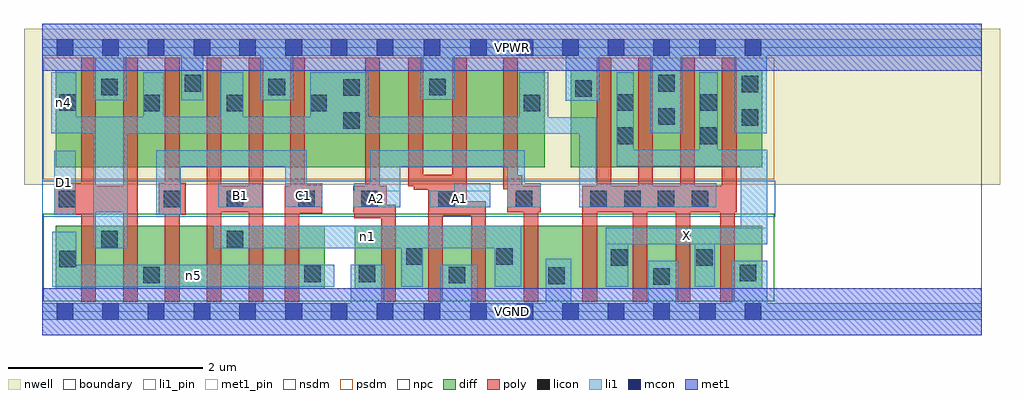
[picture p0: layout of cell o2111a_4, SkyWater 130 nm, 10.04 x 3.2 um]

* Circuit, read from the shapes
.subckt o2111a_4 A1 A2 B1 C1 D1 VGND VPWR X n1 n4 n5
XM1 n4 D1 n5 VSUBS sky130_fd_pr__nfet_01v8 w=0.65 l=0.15 m=2
XM2 n2 C1 n5 VSUBS sky130_fd_pr__nfet_01v8 w=0.65 l=0.15
XM3 n1 B1 n2 VSUBS sky130_fd_pr__nfet_01v8 w=0.65 l=0.15
XM4 n3 B1 n1 VSUBS sky130_fd_pr__nfet_01v8 w=0.65 l=0.15
XM5 n5 C1 n3 VSUBS sky130_fd_pr__nfet_01v8 w=0.65 l=0.15
XM6 n1 A2 VGND VSUBS sky130_fd_pr__nfet_01v8 w=0.65 l=0.15 m=2
XM7 VGND A1 n1 VSUBS sky130_fd_pr__nfet_01v8 w=0.65 l=0.15 m=2
XM8 X n4 VGND VSUBS sky130_fd_pr__nfet_01v8 w=0.65 l=0.15 m=4
XM9 VPWR D1 n4 n6 sky130_fd_pr__pfet_01v8 w=1 l=0.15 m=2
XM10 VPWR C1 n4 n6 sky130_fd_pr__pfet_01v8 w=1 l=0.15 m=2
XM11 n4 B1 VPWR n6 sky130_fd_pr__pfet_01v8 w=1 l=0.15 m=2
XM12 n7 A2 n4 n6 sky130_fd_pr__pfet_01v8 w=1 l=0.15
XM13 VPWR A1 n7 n6 sky130_fd_pr__pfet_01v8 w=1 l=0.15
XM14 n8 A1 VPWR n6 sky130_fd_pr__pfet_01v8 w=1 l=0.15
XM15 n4 A2 n8 n6 sky130_fd_pr__pfet_01v8 w=1 l=0.15
XM16 X n4 VPWR n6 sky130_fd_pr__pfet_01v8 w=1 l=0.15 m=4
.ends

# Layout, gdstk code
import gdstk
lib = gdstk.Library(unit=1e-6, precision=1e-09)
def R(c, l, rs):  # rectangles x0, y0, x1, y1
    for r in rs: c.add(gdstk.rectangle(r[:2], r[2:], *l))
def A(c, l, x, y, w, h, nx, ny, dx, dy):  # array of equal rectangles
    R(c, l, [(x+i*dx, y+j*dy, x+i*dx+w, y+j*dy+h) for i in range(nx) for j in range(ny)])
nwell = (64, 20)
diff = (65, 20)
poly = (66, 20)
licon = (66, 44)
li1_pin = (67, 16)
li1 = (67, 20)
mcon = (67, 44)
met1_pin = (68, 16)
met1 = (68, 20)
nsdm = (93, 44)
psdm = (94, 20)
npc = (95, 20)
boundary = (235, 4)

o2111a_4 = lib.new_cell('o2111a_4')
R(o2111a_4, nwell, [(-0.19,1.305,9.85,2.91), (0,1.305,9.66,2.91)])
R(o2111a_4, diff, [(0.135,0.235,2.905,0.885), (3.21,0.235,7.405,0.885), (0.135,1.485,5.165,2.485), (5.435,1.485,7.405,2.485)])
A(o2111a_4, poly, 0.4, 0.105, 0.15, 2.51, 5, 1, 0.43, 0)
A(o2111a_4, poly, 5.7, 1.025, 0.15, 1.59, 4, 1, 0.43, 0)
R(o2111a_4, poly, [(2.49,0.105,2.64,1.295), (3.485,0.105,3.635,1.1), (3.97,0.105,4.12,1.41), (4.41,0.105,4.56,1.135), (4.95,0.105,5.1,1.295), (5.555,0.105,5.705,1.295), (6.07,0.105,6.22,1.295), (6.515,0.105,6.665,1.295), (6.97,0.105,7.12,1.295), (6.99,0.105,7.12,2.615), (3.205,0.96,3.635,1.1), (3.32,0.96,3.47,2.615), (3.97,0.985,4.365,1.41), (3.97,0.985,4.56,1.135), (4.215,0.985,4.365,2.615), (0.12,0.995,0.55,1.325), (1.195,0.995,1.475,1.325), (2.55,1.015,2.7,2.615), (2.55,1.015,2.88,1.305), (0.12,1.025,0.98,1.295), (1.69,1.025,2.27,1.295), (3.195,1.025,3.54,1.295), (4.78,1.025,5.125,1.295), (5.555,1.025,7.14,1.295), (3.82,1.255,4.365,1.41), (4.74,1.26,4.89,2.615), (4.74,1.26,4.935,1.405), (3.765,1.29,3.915,2.615)])
A(o2111a_4, licon, 1.035, 2.06, 0.17, 0.17, 3, 1, 0.86, 0)
R(o2111a_4, licon, [(6.285,0.275,6.455,0.445), (5.205,0.285,5.375,0.455), (1.035,0.295,1.205,0.465), (4.18,0.295,4.35,0.465), (2.695,0.305,2.865,0.475), (3.255,0.305,3.425,0.475), (7.175,0.315,7.345,0.485), (0.175,0.455,0.345,0.625), (5.845,0.475,6.015,0.645), (6.725,0.475,6.895,0.645), (3.74,0.485,3.91,0.655), (4.67,0.485,4.84,0.655), (0.605,0.665,0.775,0.835), (1.895,0.665,2.065,0.835), (0.17,1.075,0.34,1.245), (1.25,1.075,1.42,1.245), (1.895,1.075,2.065,1.245), (2.63,1.075,2.8,1.245), (3.28,1.075,3.45,1.245), (4.07,1.075,4.24,1.245), (4.87,1.075,5.04,1.245), (5.635,1.075,5.805,1.245), (5.985,1.075,6.155,1.245), (6.33,1.075,6.5,1.245), (6.68,1.075,6.85,1.245), (5.905,1.725,6.075,1.895), (6.765,1.725,6.935,1.895), (3.095,1.88,3.265,2.05), (7.195,1.915,7.365,2.085), (6.335,1.925,6.505,2.095), (4.95,2.06,5.12,2.23), (0.175,2.065,0.345,2.235), (5.905,2.065,6.075,2.235), (6.765,2.065,6.935,2.235), (5.48,2.21,5.65,2.38), (3.095,2.22,3.265,2.39), (0.605,2.225,0.775,2.395), (2.325,2.225,2.495,2.395), (3.98,2.225,4.15,2.395), (7.195,2.255,7.365,2.425), (1.465,2.265,1.635,2.435), (6.335,2.265,6.505,2.435)])
R(o2111a_4, li1_pin, [(5.795,0.695,7.455,0.865), (0.12,0.995,0.34,1.655), (1.81,1.075,2.26,1.32), (3.195,1.075,3.68,1.245), (3.985,1.075,4.605,1.245), (2.5,1.08,2.88,1.32)])
R(o2111a_4, li1, [(0,-0.085,9.66,0.085), (3.17,-0.085,3.515,0.485), (4.09,-0.085,4.48,0.485), (5.175,-0.085,5.44,0.545), (6.23,-0.085,6.54,0.525), (7.09,-0.085,7.455,0.525), (0.1,0.255,3,0.485), (0.1,0.255,0.345,0.825), (3.69,0.255,3.91,0.885), (4.655,0.255,4.925,0.885), (5.795,0.255,6.025,0.865), (6.71,0.255,6.915,0.865), (0.52,0.655,0.875,2.005), (1.755,0.655,4.925,0.885), (5.795,0.695,7.455,0.865), (7.185,0.695,7.455,1.665), (0.12,0.995,0.34,1.655), (1.17,0.995,1.425,1.66), (1.81,1.075,2.26,1.32), (2.545,1.075,2.88,1.32), (3.195,1.075,3.68,1.245), (3.205,1.075,3.68,1.32), (3.37,1.075,3.68,1.66), (3.985,1.075,4.605,1.245), (4.235,1.075,4.605,1.32), (4.78,1.075,5.125,1.32), (4.78,1.075,4.96,1.66), (5.52,1.075,6.93,1.32), (5.52,1.075,5.695,2), (2.5,1.08,2.88,1.32), (2.5,1.08,2.72,1.66), (1.17,1.49,2.72,1.66), (3.37,1.49,4.96,1.66), (5.905,1.495,7.455,1.665), (5.905,1.495,6.08,2.465), (6.755,1.495,6.945,2.465), (0.52,1.83,5.695,2), (1.035,1.83,1.25,2.465), (1.83,1.83,2.065,2.465), (2.755,1.83,3.35,2.465), (4.905,1.83,5.205,2.465), (0.09,1.835,0.345,2.465), (0.09,1.835,5.205,2.005), (6.25,1.835,6.58,2.805), (7.12,1.835,7.45,2.805), (5.385,2.17,5.73,2.805), (0.52,2.175,0.86,2.805), (1.43,2.175,1.655,2.805), (2.24,2.175,2.58,2.805), (3.89,2.18,4.24,2.805), (0,2.635,9.66,2.805)])
A(o2111a_4, mcon, 0.145, -0.085, 0.17, 0.17, 5, 2, 0.47, 2.72)
A(o2111a_4, mcon, 3.44, -0.085, 0.17, 0.17, 4, 2, 0.48, 2.72)
A(o2111a_4, mcon, 5.345, -0.085, 0.17, 0.17, 5, 2, 0.47, 2.72)
R(o2111a_4, mcon, [(2.5,-0.085,2.67,0.085), (2.965,-0.085,3.135,0.085), (2.5,2.635,2.67,2.805), (2.965,2.635,3.135,2.805)])
R(o2111a_4, met1_pin, [(0,-0.24,9.66,0.24), (0,2.48,9.66,2.96)])
R(o2111a_4, met1, [(0,-0.24,9.66,0.24), (0,2.48,9.66,2.96)])
R(o2111a_4, nsdm, [(0.01,0.11,7.53,1.01)])
R(o2111a_4, psdm, [(0.01,1.36,7.53,2.61)])
R(o2111a_4, npc, [(0,0.975,7.54,1.345)])
R(o2111a_4, boundary, [(0,0,9.66,2.72)])
o2111a_4.add(gdstk.Label('A1', (4.295,1.16), layer=67, texttype=5))
o2111a_4.add(gdstk.Label('A2', (3.437,1.16), layer=67, texttype=5))
o2111a_4.add(gdstk.Label('B1', (2.035,1.197), layer=67, texttype=5))
o2111a_4.add(gdstk.Label('C1', (2.69,1.2), layer=67, texttype=5))
o2111a_4.add(gdstk.Label('D1', (0.23,1.325), layer=67, texttype=5))
o2111a_4.add(gdstk.Label('X', (6.625,0.78), layer=67, texttype=5))
o2111a_4.add(gdstk.Label('n5', (1.55,0.37), layer=67, texttype=5))
o2111a_4.add(gdstk.Label('n1', (3.34,0.77), layer=67, texttype=5))
o2111a_4.add(gdstk.Label('n4', (0.217,2.15), layer=67, texttype=5))
o2111a_4.add(gdstk.Label('VPWR', (4.83,2.72), layer=68, texttype=5))
o2111a_4.add(gdstk.Label('VGND', (4.83,0), layer=68, texttype=5))
o2111a_4.add(gdstk.Label('A1', (4.295,1.16), layer=67, texttype=16))
o2111a_4.add(gdstk.Label('A2', (3.437,1.16), layer=67, texttype=16))
o2111a_4.add(gdstk.Label('B1', (2.035,1.197), layer=67, texttype=16))
o2111a_4.add(gdstk.Label('C1', (2.69,1.2), layer=67, texttype=16))
o2111a_4.add(gdstk.Label('D1', (0.23,1.325), layer=67, texttype=16))
o2111a_4.add(gdstk.Label('X', (6.625,0.78), layer=67, texttype=16))
o2111a_4.add(gdstk.Label('VPWR', (4.83,2.72), layer=68, texttype=16))
o2111a_4.add(gdstk.Label('VGND', (4.83,0), layer=68, texttype=16))

lib.write_gds('o2111a_4.gds')
